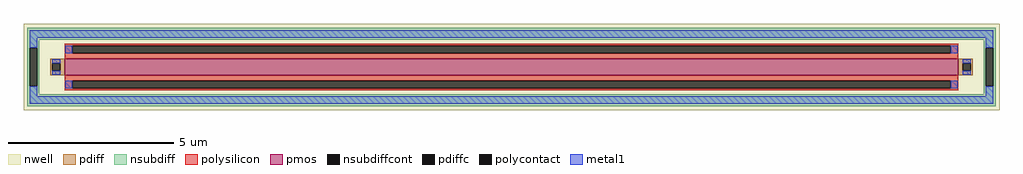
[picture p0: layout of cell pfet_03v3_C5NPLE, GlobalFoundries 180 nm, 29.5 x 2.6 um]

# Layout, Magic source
magic
tech gf180mcuD
magscale 1 10
<< nwell >>
rect -2950 -260 2950 260
<< pmos >>
rect -2700 -50 2700 50
<< pdiff >>
rect -2788 23 -2700 50
rect -2788 -23 -2775 23
rect -2729 -23 -2700 23
rect -2788 -50 -2700 -23
rect 2700 23 2788 50
rect 2700 -23 2729 23
rect 2775 -23 2788 23
rect 2700 -50 2788 -23
<< pdiffc >>
rect -2775 -23 -2729 23
rect 2729 -23 2775 23
<< nsubdiff >>
rect -2926 164 2926 236
rect -2926 117 -2854 164
rect -2926 -117 -2913 117
rect -2867 -117 -2854 117
rect 2854 117 2926 164
rect -2926 -164 -2854 -117
rect 2854 -117 2867 117
rect 2913 -117 2926 117
rect 2854 -164 2926 -117
rect -2926 -236 2926 -164
<< nsubdiffcont >>
rect -2913 -117 -2867 117
rect 2867 -117 2913 117
<< polysilicon >>
rect -2700 129 2700 142
rect -2700 83 -2655 129
rect 2655 83 2700 129
rect -2700 50 2700 83
rect -2700 -83 2700 -50
rect -2700 -129 -2655 -83
rect 2655 -129 2700 -83
rect -2700 -142 2700 -129
<< polycontact >>
rect -2655 83 2655 129
rect -2655 -129 2655 -83
<< metal1 >>
rect -2913 177 2913 223
rect -2913 117 -2867 177
rect -2698 83 -2655 129
rect 2655 83 2698 129
rect 2867 117 2913 177
rect -2775 23 -2729 48
rect -2775 -48 -2729 -23
rect 2729 23 2775 48
rect 2729 -48 2775 -23
rect -2913 -177 -2867 -117
rect -2698 -129 -2655 -83
rect 2655 -129 2698 -83
rect 2867 -177 2913 -117
rect -2913 -223 2913 -177
<< properties >>
string FIXED_BBOX -2890 -200 2890 200
<< end >>
